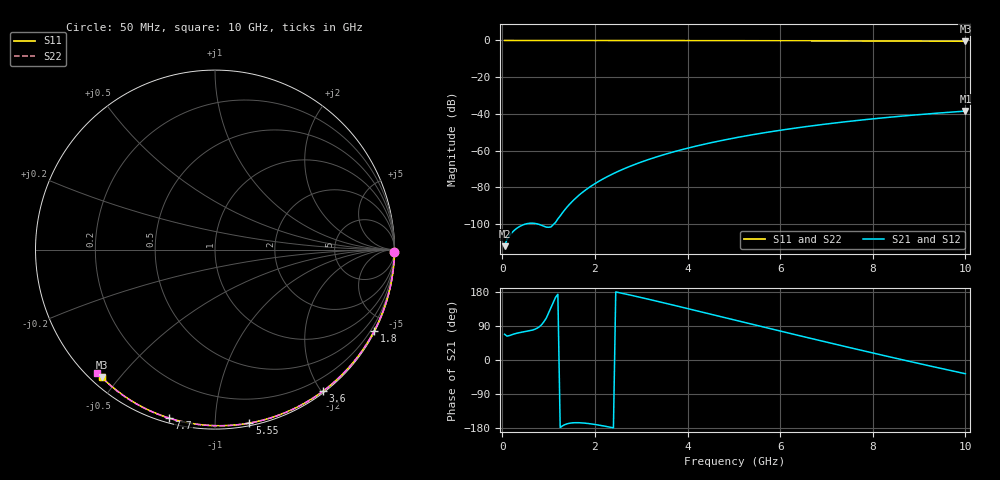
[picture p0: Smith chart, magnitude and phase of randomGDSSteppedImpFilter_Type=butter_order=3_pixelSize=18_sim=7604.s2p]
! freq	dB(S11)	phase(S11)	dB(S12)	phase(S12)
!  dB(S21)	phase(S21)	dB(S22)	phase(S22)
!S-par simulation data
#  GHz  S  DB  R 50
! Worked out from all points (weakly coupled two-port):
!   200 points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, 50 MHz to 10 GHz, reference 50 ohm
!   highest |S21| = -38.48 dB at 10 GHz (marker M1); lowest = -112.1 dB at 50 MHz (marker M2)
!   lowest |S11| = -0.4 dB at 10 GHz (marker M3), VSWR 39.06, Z = 1.54 - j22.4 ohm
!   |S11| at or under -10 dB: nowhere
!   |S22| runs from -0.5 to 0.0 dB; largest |S21 - S12| = 0
!   S11 on the Smith chart (normalised r, x): 50 MHz: open; 1.8 GHz: 0.04, -4.17; 3.6 GHz: 0.02, -2.02; 5.55 GHz: 0.02, -1.22; 7.7 GHz: 0.02, -0.76; 10 GHz: 0.03, -0.45
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0.05  -0.00 -0.8  -112.08 68.0  -112.08 68.0  -0.00 -0.8
0.9  -0.02 -13.6  -101.28 101.3  -101.28 101.3  -0.02 -13.7
1.75  -0.03 -26.2  -82.38 -166.3  -82.38 -166.3  -0.03 -26.5
1.8  -0.03 -27.0  -81.43 -166.8  -81.43 -166.8  -0.03 -27.2
1.85  -0.04 -27.7  -80.53 -167.5  -80.53 -167.5  -0.04 -28.0
1.9  -0.04 -28.4  -79.66 -168.3  -79.66 -168.3  -0.04 -28.7
2.05  -0.04 -30.6  -77.25 -171.1  -77.25 -171.1  -0.04 -30.9
2.25  -0.04 -33.6  -74.42 -175.5  -74.42 -175.5  -0.04 -33.9
2.45  -0.05 -36.4  -71.92 179.6  -71.92 179.6  -0.05 -36.8
2.65  -0.05 -39.3  -69.68 174.4  -69.68 174.4  -0.05 -39.7
3  -0.06 -44.3  -66.25 164.8  -66.25 164.8  -0.06 -44.7
3.4  -0.07 -50.0  -62.89 153.4  -62.89 153.4  -0.07 -50.4
3.6  -0.07 -52.7  -61.40 147.5  -61.40 147.5  -0.07 -53.2
4.3  -0.09 -62.3  -56.88 126.9  -56.88 126.9  -0.09 -62.9
5.05  -0.11 -72.3  -52.96 104.6  -52.96 104.6  -0.11 -73.0
5.55  -0.13 -78.8  -50.73 89.7  -50.73 89.7  -0.13 -79.5
6.1  -0.15 -85.8  -48.56 73.5  -48.56 73.5  -0.15 -86.6
6.7  -0.18 -93.2  -46.47 55.9  -46.47 55.9  -0.18 -94.1
7.7  -0.24 -105.2  -43.50 27.1  -43.50 27.1  -0.24 -106.3
8.35  -0.29 -112.8  -41.85 8.7  -41.85 8.7  -0.29 -114.0
9.15  -0.36 -122.0  -40.09 -13.5  -40.09 -13.5  -0.36 -123.5
10  -0.44 -131.7  -38.48 -36.3  -38.48 -36.3  -0.45 -133.7
